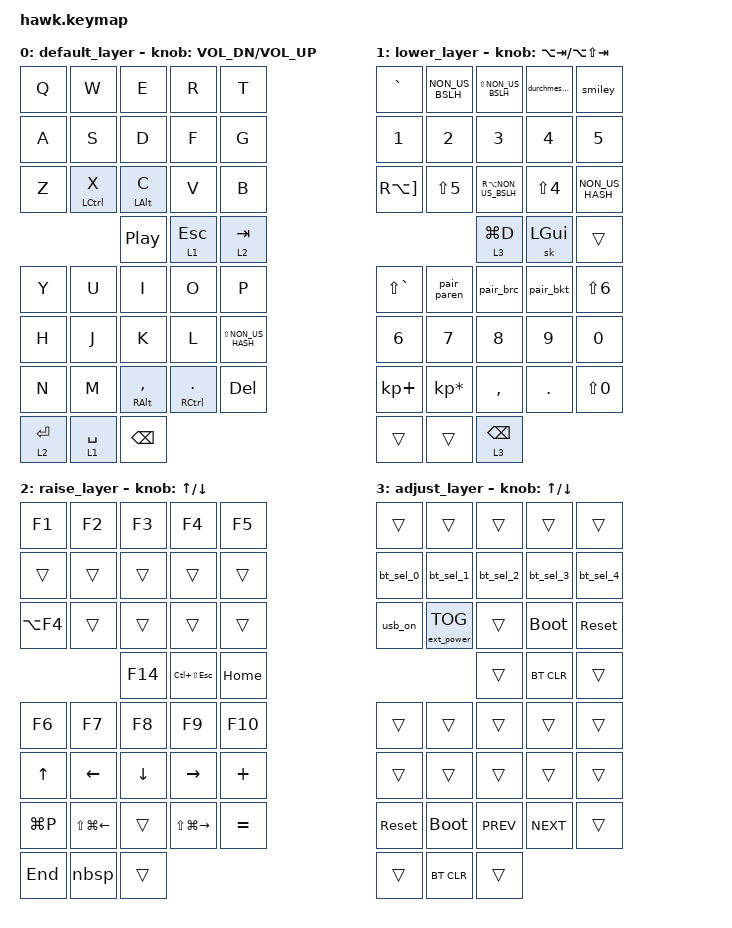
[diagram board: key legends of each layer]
/*
 * Hawk keymap — Corne keymap with outer pinky columns removed.
 *
 * Key position reference (36 positions total):
 *
 *   Left 5×3 (pos 0–14):
 *     0  1  2  3  4   ← top row  (Q  W  E  R  T)
 *     5  6  7  8  9   ← mid row  (A  S  D  F  G)
 *    10 11 12 13 14   ← bot row  (Z  X  C  V  B)
 *
 *   Left thumbs (pos 15–17):
 *    15 16 17
 *
 *   Right 5×3 (pos 18–32, peripheral offset +18):
 *    18 19 20 21 22   ← top row  (Y  U  I  O  P)
 *    23 24 25 26 27   ← mid row  (H  J  K  L  ö)
 *    28 29 30 31 32   ← bot row  (N  M  ,  .  DEL)
 *
 *   Right thumbs (pos 33–35):
 *    33 34 35
 */

#define LEFT_HAND_KEYS  0  1  2  3  4  5  6  7  8  9 10 11 12 13 14 15 16 17
#define RIGHT_HAND_KEYS 18 19 20 21 22 23 24 25 26 27 28 29 30 31 32 33 34 35

#include <behaviors.dtsi>
#include <dt-bindings/zmk/keys.h>
#include <dt-bindings/zmk/bt.h>
#include <dt-bindings/zmk/ext_power.h>
#include <dt-bindings/zmk/outputs.h>

/ {
    macros {
        pair_paren: pair_paren {
            compatible = "zmk,behavior-macro";
            #binding-cells = <0>;
            wait-ms = <10>;
            tap-ms = <10>;
            bindings = <&kp LS(N8)>, <&kp LS(N9)>, <&kp LEFT>;
        };

        pair_brc: pair_brc {
            compatible = "zmk,behavior-macro";
            #binding-cells = <0>;
            wait-ms = <10>;
            tap-ms = <10>;
            bindings = <&kp RA(N7)>, <&kp RA(N0)>, <&kp LEFT>;
        };

        pair_bkt: pair_bkt {
            compatible = "zmk,behavior-macro";
            #binding-cells = <0>;
            wait-ms = <10>;
            tap-ms = <10>;
            bindings = <&kp RA(N8)>, <&kp RA(N9)>, <&kp LEFT>;
        };

        usb_on: usb_on {
            compatible = "zmk,behavior-macro";
            #binding-cells = <0>;
            bindings = <&out OUT_USB>;
        };

        bt_sel_0: bt_sel_0 {
            compatible = "zmk,behavior-macro";
            #binding-cells = <0>;
            bindings = <&out OUT_BLE>, <&bt BT_SEL 0>;
        };

        bt_sel_1: bt_sel_1 {
            compatible = "zmk,behavior-macro";
            #binding-cells = <0>;
            bindings = <&out OUT_BLE>, <&bt BT_SEL 1>;
        };

        bt_sel_2: bt_sel_2 {
            compatible = "zmk,behavior-macro";
            #binding-cells = <0>;
            bindings = <&out OUT_BLE>, <&bt BT_SEL 2>;
        };
        
        bt_sel_3: bt_sel_3 {
            compatible = "zmk,behavior-macro";
            #binding-cells = <0>;
            bindings = <&out OUT_BLE>, <&bt BT_SEL 3>;
        };

        bt_sel_4: bt_sel_4 {
            compatible = "zmk,behavior-macro";
            #binding-cells = <0>;
            bindings = <&out OUT_BLE>, <&bt BT_SEL 4>;
        };

        durchmesser: durchmesser {
            compatible = "zmk,behavior-macro";
            #binding-cells = <0>;
            bindings = <&macro_press &kp LALT>, <&macro_tap &kp KP_N0 &kp KP_N2 &kp KP_N4 &kp KP_N8>, <&macro_release &kp LALT>;
        };

        smiley: smiley {
            compatible = "zmk,behavior-macro";
            #binding-cells = <0>;
            wait-ms = <20>;
            tap-ms = <20>;
            bindings = <&macro_press &kp LSHFT>, <&macro_tap &kp COMMA>, <&macro_release &kp LSHFT>, <&macro_tap &kp SLASH>, <&macro_press &kp LSHFT>, <&macro_tap &kp N9>, <&macro_release &kp LSHFT>;
        };

        nbsp: nbsp {
            compatible = "zmk,behavior-macro";
            #binding-cells = <0>;
            wait-ms = <30>;
            tap-ms = <30>;
            bindings = <&macro_press &kp LALT>, <&macro_tap &kp KP_N0 &kp KP_N1 &kp KP_N6 &kp KP_N0>, <&macro_release &kp LALT>;
        };

        macro_bt_clr: macro_bt_clr {
            compatible = "zmk,behavior-macro";
            #binding-cells = <0>;
            bindings = <&bt BT_CLR>;
        };
        
        m_pp: m_pp {
            compatible = "zmk,behavior-macro";
            #binding-cells = <0>;
            wait-ms = <0>;
            tap-ms = <10>;
            bindings = <&kp C_PP>; 
        };
        m_next: m_next {
            compatible = "zmk,behavior-macro";
            #binding-cells = <0>;
            bindings = <&kp C_NEXT>;
        };
        m_prev: m_prev {
            compatible = "zmk,behavior-macro";
            #binding-cells = <0>;
            bindings = <&kp C_PREV>;
        };
        m_up: m_up {
            compatible = "zmk,behavior-macro";
            #binding-cells = <0>;
            wait-ms = <0>;
            tap-ms = <0>;
            bindings
                = <&macro_press &kp UP>
                , <&macro_pause_for_release>
                , <&macro_release &kp UP>;
        };

        m_down: m_down {
            compatible = "zmk,behavior-macro";
            #binding-cells = <0>;
            wait-ms = <0>;
            tap-ms = <0>;
            bindings
                = <&macro_press &kp DOWN>
                , <&macro_pause_for_release>
                , <&macro_release &kp DOWN>;
        };
    };

    behaviors {
        skq: sticky_key_quick_release {
            compatible = "zmk,behavior-sticky-key";
            #binding-cells = <1>;
            bindings = <&kp>;
            release-after-ms = <1000>;
            quick-release;
            ignore-modifiers;
        };

        lt_enter: lt_enter {
            compatible = "zmk,behavior-hold-tap";
            #binding-cells = <2>;
            tapping-term-ms = <220>;
            quick-tap-ms = <150>;
            flavor = "hold-preferred";
            retro-tap;
            bindings = <&mo>, <&kp>;
        };

        caps_wrd: caps_wrd {
            compatible = "zmk,behavior-caps-word";
            #binding-cells = <0>;
            continue-list = <NON_US_HASH KP_DIVIDE BACKSPACE DEL SLASH SQT SEMI LBKT>;
        };

        hrm_safe: hrm_safe {
            compatible = "zmk,behavior-hold-tap";
            #binding-cells = <2>;
            tapping-term-ms = <280>;
            quick-tap-ms = <175>;
            flavor = "tap-preferred";
            require-prior-idle-ms = <220>;
            bindings = <&kp>, <&kp>;
            hold-trigger-on-release;
        };

        hrm_left: hrm_left {
            compatible = "zmk,behavior-hold-tap";
            #binding-cells = <2>;
            flavor = "tap-preferred";
            tapping-term-ms = <220>;
            require-prior-idle-ms = <150>;
            hold-trigger-key-positions = <RIGHT_HAND_KEYS>;
            hold-trigger-on-release;
            bindings = <&kp>, <&kp>;
        };
    
        hrm_right: hrm_right {
            compatible = "zmk,behavior-hold-tap";
            #binding-cells = <2>;
            flavor = "tap-preferred";
            tapping-term-ms = <170>;
            require-prior-idle-ms = <80>;
            hold-trigger-key-positions = <LEFT_HAND_KEYS>;
            hold-trigger-on-release;
            bindings = <&kp>, <&kp>;
        };

        lt_hp: lt_hp {
            compatible = "zmk,behavior-hold-tap";
            #binding-cells = <2>;
            tapping-term-ms = <200>;
            quick-tap-ms = <200>;
            flavor = "balanced";
            retro-tap;
            bindings = <&mo>, <&kp>;
        };

        enc_bt_clr: enc_bt_clr {
            compatible = "zmk,behavior-hold-tap";
            #binding-cells = <2>;
            tapping-term-ms = <5000>;
            flavor = "tap-preferred";
            bindings = <&macro_bt_clr>, <&none>;
        };
    };

    combos {
        compatible = "zmk,combos";

        // ==========================================
        // 1. SYMMETRISCHE SHIFT-COMBOS & ZEIGEFINGER-COMBOS
        // ==========================================
        combo_shift_left  { timeout-ms = <35>; require-prior-idle-ms = <120>; key-positions = <7 8>;   bindings = <&skq LSHIFT>; layers = <0>; }; // D + F
        combo_shift_right { timeout-ms = <35>; require-prior-idle-ms = <120>; key-positions = <24 25>; bindings = <&skq LSHIFT>; layers = <0>; }; // J + K
        combo_caps_word   { timeout-ms = <35>; key-positions = <8 24>;  bindings = <&caps_wrd>; layers = <0>; };    // F + J
        combo_quote       { timeout-ms = <28>; key-positions = <3 8>;   bindings = <&kp LS(N2)>; layers = <0 1>; }; // R + F (")
        combo_question    { timeout-ms = <28>; key-positions = <20 25>; bindings = <&kp LS(MINUS)>; layers = <0 1>; }; // I + K (?)
        combo_ue          { timeout-ms = <35>; key-positions = <19 24>; bindings = <&kp LBKT>; layers = <0>; };     // U + J (Ü)


        // ==========================================
        // 2. UNKRITISCHE COMBOS (Komfortable 45-50ms)
        // ==========================================
        combo_excl       { timeout-ms = <45>; key-positions = <2 7>;   bindings = <&kp LS(N1)>; layers = <0 1>; };
        combo_colon      { timeout-ms = <45>; key-positions = <30 31>; bindings = <&kp LS(DOT)>; layers = <0 1>; };
        combo_backslash  { timeout-ms = <45>; key-positions = <25 26>; bindings = <&kp RA(MINUS)>; layers = <0 1>; };
        combo_slash      { timeout-ms = <45>; key-positions = <6 7>;   bindings = <&kp KP_DIVIDE>; layers = <0 1>; };
        combo_minus      { timeout-ms = <45>; key-positions = <26 27>; bindings = <&kp SLASH>; layers = <0 1>; };
        combo_underscore { timeout-ms = <35>; key-positions = <5 6>;   bindings = <&kp LS(SLASH)>; layers = <0 1>; };
        combo_ae         { timeout-ms = <50>; key-positions = <0 5>;   bindings = <&kp SQT>; layers = <0>; };      // Q + A (Ä)
        combo_oe         { timeout-ms = <45>; key-positions = <21 26>; bindings = <&kp SEMI>; layers = <0>; };     // O + L (Ö)
        combo_ss         { timeout-ms = <45>; key-positions = <1 6>;   bindings = <&kp MINUS>; layers = <0>; };    // W + S (ß)


        // ==========================================
        // 3. HARDWARE-COMBOS (Bleiben auf 2ms)
        // ==========================================
        combo_bt0 { timeout-ms = <2>; key-positions = <11 9>; bindings = <&bt_sel_0>; };
        combo_bt1 { timeout-ms = <2>; key-positions = <11 6>; bindings = <&bt_sel_1>; };
        combo_bt2 { timeout-ms = <2>; key-positions = <11 5>; bindings = <&bt_sel_2>; };
        combo_usb { timeout-ms = <2>; key-positions = <11 7>; bindings = <&usb_on>; };
        
        combo_up    { timeout-ms = <2>; key-positions = <0 11 14>; bindings = <&kp UP>;    layers = <0>; };
        combo_down  { timeout-ms = <2>; key-positions = <0 10 14>; bindings = <&kp DOWN>;  layers = <0>; };
        combo_prev  { timeout-ms = <2>; key-positions = <0 12 14>; bindings = <&m_prev>;   layers = <0>; };
        combo_next  { timeout-ms = <2>; key-positions = <0 13 14>; bindings = <&m_next>;   layers = <0>; };
        combo_pp    { timeout-ms = <2>; key-positions = <0 14>;    bindings = <&m_pp>;     layers = <0>; };

        combo_up_l1   { timeout-ms = <2>; key-positions = <0 11 14>; bindings = <&kp UP>;    layers = <1>; };
        combo_down_l1 { timeout-ms = <2>; key-positions = <0 10 14>; bindings = <&kp DOWN>;  layers = <1>; };
        combo_prev_l1 { timeout-ms = <2>; key-positions = <0 12 14>; bindings = <&kp LEFT>;  layers = <1>; };
        combo_next_l1 { timeout-ms = <2>; key-positions = <0 13 14>; bindings = <&kp RIGHT>; layers = <1>; };
        combo_pp_l1   { timeout-ms = <2>; key-positions = <0 14>;    bindings = <&m_pp>;     layers = <1>; };

        combo_del_last_word {
            timeout-ms = <45>;
            key-positions = <15 35>;
            bindings = <&kp LC(BSPC)>;
            layers = <0>;
        };
    };

    keymap {
        compatible = "zmk,keymap";

        default_layer {
            sensor-bindings = <&inc_dec_kp C_VOL_DN C_VOL_UP>;
            bindings = <
/* left top  */   &kp Q              &kp W                &kp E                 &kp R       &kp T
/* left mid  */   &kp A              &kp S                &kp D                 &kp F       &kp G
/* left bot  */   &kp Z              &hrm_safe LCTRL X    &hrm_safe LALT C      &kp V       &kp B
/* left tmb  */                                           &kp C_PP              &lt 1 ESC   &lt 2 TAB

/* right top */   &kp Y             &kp U              &kp I                 &kp O                &kp P
/* right mid */   &kp H             &kp J              &kp K                 &kp L                &kp LS(NON_US_HASH)
/* right bot */   &kp N             &kp M              &hrm_safe RALT COMMA  &hrm_safe RCTRL DOT  &kp DEL
/* right tmb */   &lt_enter 2 RET   &lt_hp 1 SPACE     &kp BSPC
            >;
        };

        lower_layer {
            sensor-bindings = <&inc_dec_kp LA(TAB) LA(LS(TAB))>;
            bindings = <
/* left top  */   &kp GRAVE      &kp NON_US_BSLH   &kp LS(NON_US_BSLH)  &durchmesser   &smiley
/* left mid  */   &kp N1         &kp N2            &kp N3               &kp N4         &kp N5
/* left bot  */   &kp RA(RBKT)   &kp LS(N5)        &kp RA(NON_US_BSLH)  &kp LS(N4)     &kp NON_US_HASH
/* left tmb  */                                    &lt 3 LG(D)          &sk LGUI       &trans

/* right top */   &kp LS(GRAVE)  &pair_paren       &pair_brc            &pair_bkt       &kp LS(N6)
/* right mid */   &kp N6         &kp N7            &kp N8               &kp N9          &kp N0
/* right bot */   &kp KP_PLUS    &kp KP_MULTIPLY   &kp COMMA            &kp DOT         &kp LS(N0)
/* right tmb */   &trans         &trans            &lt_hp 3 BSPC
            >;
        };

        raise_layer {
            sensor-bindings = <&inc_dec_kp UP DOWN>;
            bindings = <
/* left top  */   &kp F1         &kp F2            &kp F3               &kp F4            &kp F5     
/* left mid  */   &trans         &trans            &trans               &trans            &trans
/* left bot  */   &kp LA(F4)     &trans            &trans               &trans            &trans
/* left tmb  */                                    &kp F14              &kp LC(LS(ESC))   &kp HOME

/* right top */   &kp F6         &kp F7            &kp F8               &kp F9              &kp F10
/* right mid */   &kp UP         &kp LEFT          &kp DOWN             &kp RIGHT           &kp PLUS
/* right bot */   &kp LG(P)      &kp LS(LG(LEFT))  &trans               &kp LS(LG(RIGHT))   &kp EQUAL
/* right tmb */   &kp END        &nbsp             &trans
            >;
        };

        adjust_layer {
            sensor-bindings = <&inc_dec_kp UP DOWN>;
            bindings = <
/* left top  */   &trans         &trans            &trans               &trans            &trans
/* left mid  */   &bt_sel_0      &bt_sel_1         &bt_sel_2            &bt_sel_3         &bt_sel_4
/* left bot  */   &usb_on        &ext_power EP_TOG &trans               &bootloader       &sys_reset
/* left tmb  */                                    &trans               &bt BT_CLR        &trans

/* right top */   &trans         &trans            &trans               &trans            &trans
/* right mid */   &trans         &trans            &trans               &trans            &trans
/* right bot */   &sys_reset     &bootloader       &kp C_PREV           &kp C_NEXT        &trans
/* right tmb */   &trans         &bt BT_CLR        &trans            
            >;
        };
    };
};
